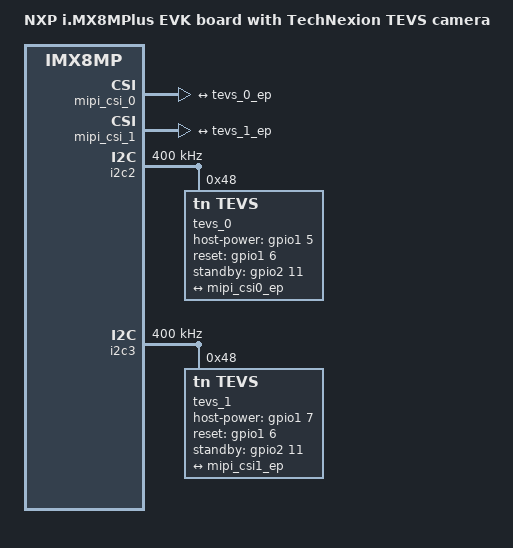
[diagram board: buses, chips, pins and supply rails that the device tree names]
// SPDX-License-Identifier: (GPL-2.0+ OR MIT)
/*
 * Copyright 2020 TechNexion Ltd.
 *
 * Author: Richard Hu <richard.hu@technexion.com>
 *         Ray Chang <ray.chang@technexion.com>
 *
 */

#include "imx8mp-evk.dts"

/ {
	model = "NXP i.MX8MPlus EVK board with TechNexion TEVS camera";
};

&iomuxc {
	tevs_pinctrl_csi0_pwn: tevs_csi0_pwn_grp {
		fsl,pins = <
			MX8MP_IOMUXC_SD1_STROBE__GPIO2_IO11	0x9 /* CSI1_PWDN for host-power-gpios */
			MX8MP_IOMUXC_GPIO1_IO05__GPIO1_IO05	0x9 /* INFO_TRIG_IN1 for standby-gpios */
		>;
	};

	tevs_pinctrl_csi1_pwn: tevs_csi1_pwn_grp {
		fsl,pins = <
			MX8MP_IOMUXC_SD1_STROBE__GPIO2_IO11	0x9 /* CSI1_PWDN for host-power-gpios */
			MX8MP_IOMUXC_GPIO1_IO07__GPIO1_IO07	0x9 /* INFO_TRIG_IN1 for standby-gpios */
		>;
	};

	tevs_pinctrl_csi_mclk: tevs_csi_mclk_grp {
		fsl,pins = <
			MX8MP_IOMUXC_GPIO1_IO15__GPIO1_IO15	0x9
		>;
	};

	tevs_pinctrl_csi_rst: tevs_csi_rst_grp {
		fsl,pins = <
			MX8MP_IOMUXC_GPIO1_IO06__GPIO1_IO06		0x19
		>;
	};
};

&mipi_csi_0 {
	#address-cells = <1>;
	#size-cells = <0>;
	status = "okay";

	port@0 {
		reg = <0>;
		mipi_csi0_ep: endpoint {
			remote-endpoint = <&tevs_0_ep>;
			data-lanes = <4>;
			csis-hs-settle = <13>;
			csis-clk-settle = <2>;
			csis-wclk;
		};
	};
};


&mipi_csi_1 {
	#address-cells = <1>;
	#size-cells = <0>;
	status = "okay";

	port@1 {
		reg = <1>;
		mipi_csi1_ep: endpoint {
			remote-endpoint = <&tevs_1_ep>;
			data-lanes = <4>;
			csis-hs-settle = <13>;
			csis-clk-settle = <2>;
			csis-wclk;
		};
	};
};


&i2c2 {
	clock-frequency = <400000>;

	/delete-node/ ov5640_mipi@3c;

	tevs_0: tevs@48 {
		compatible = "tn,tevs";
		reg = <0x48>;

		pinctrl-names = "default";
		pinctrl-0 = <&tevs_pinctrl_csi0_pwn>, <&tevs_pinctrl_csi_rst>, <&tevs_pinctrl_csi_mclk>;
		host-power-gpios = <&gpio1 5 GPIO_ACTIVE_HIGH>;
		reset-gpios = <&gpio1 6 GPIO_ACTIVE_HIGH>;
		standby-gpios = <&gpio2 11 GPIO_ACTIVE_HIGH>;
		data-lanes = <4>;
		// data-frequency = <800>;
		continuous-clock = <0>;
		status = "okay";

		port {
			tevs_0_ep: endpoint {
				remote-endpoint = <&mipi_csi0_ep>;
			};
		};
	};
};


&i2c3 {
	clock-frequency = <400000>;

	/delete-node/ ov5640_mipi@3c;

	tevs_1: tevs@48 {
		compatible = "tn,tevs";
		reg = <0x48>;

		pinctrl-names = "default";
		pinctrl-0 = <&tevs_pinctrl_csi1_pwn>, <&tevs_pinctrl_csi_rst>, <&tevs_pinctrl_csi_mclk>;
		host-power-gpios = <&gpio1 7 GPIO_ACTIVE_HIGH>;
		reset-gpios = <&gpio1 6 GPIO_ACTIVE_HIGH>;
		standby-gpios = <&gpio2 11 GPIO_ACTIVE_HIGH>;
		data-lanes = <4>;
		// data-frequency = <800>;
		continuous-clock = <0>;
		status = "okay";

		port {
			tevs_1_ep: endpoint {
				remote-endpoint = <&mipi_csi1_ep>;
			};
		};
	};
};
